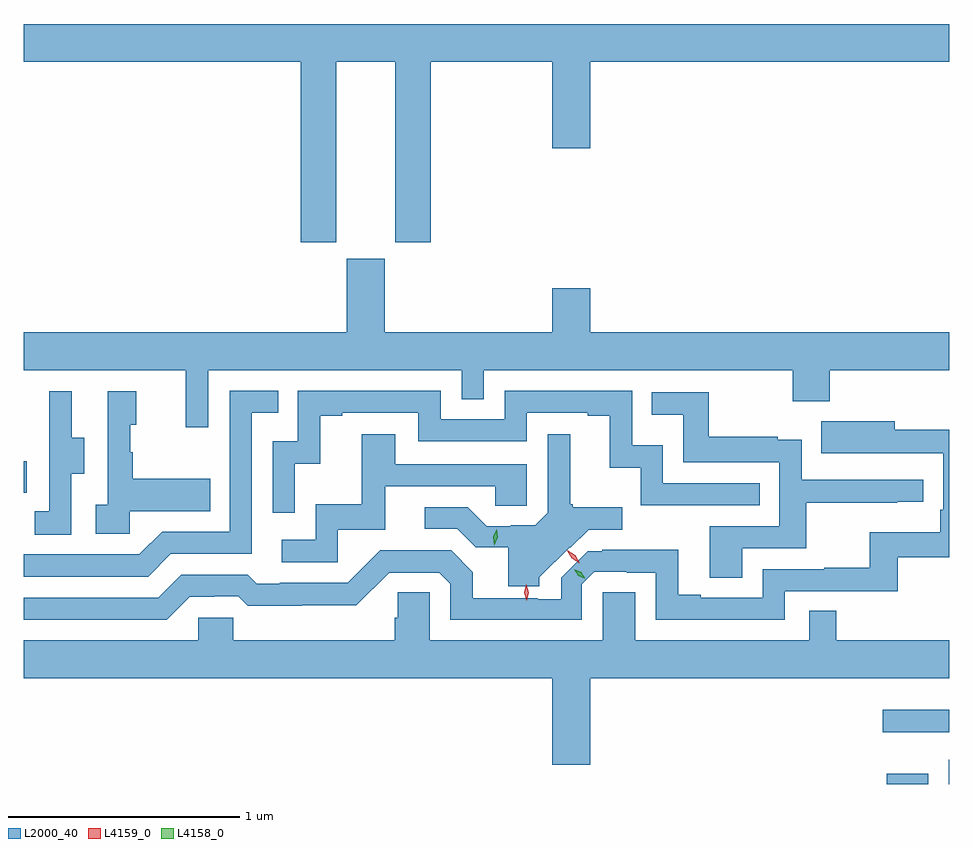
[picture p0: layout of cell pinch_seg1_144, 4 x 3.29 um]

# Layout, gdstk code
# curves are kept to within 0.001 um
import gdstk
lib = gdstk.Library(unit=1e-6, precision=1e-09)
def R(c, l, rs):  # rectangles x0, y0, x1, y1
    for r in rs: c.add(gdstk.rectangle(r[:2], r[2:], *l))
def P(c, l, *ps):  # polygons
    for p in ps: c.add(gdstk.Polygon(p, *l))
L2000_40 = (2000, 40)
L4158_0 = (4158, 0)
L4159_0 = (4159, 0)

pinch_seg1_144 = lib.new_cell('pinch_seg1_144')
R(pinch_seg1_144, L2000_40, [(1089.53,553.939,1089.709,553.984), (1089.797,553.939,1089.8,554.044), (1089.513,554.163,1089.8,554.26), (1085.8,555.197,1085.813,555.334)])
P(pinch_seg1_144, L2000_40, [(1087.15,557.06),(1087.406,557.06),(1087.406,556.281),(1087.559,556.281),(1087.559,557.06),(1088.084,557.06),(1088.084,556.686),(1088.248,556.686),(1088.248,557.06),(1089.8,557.06),(1089.8,557.224),(1085.8,557.224),(1085.8,557.06),(1086.998,557.06),(1086.998,556.281),(1087.15,556.281)],
  [(1086.597,555.728),(1087.692,555.728),(1087.692,555.601),(1087.788,555.601),(1087.788,555.728),(1089.124,555.728),(1089.124,555.593),(1089.284,555.593),(1089.284,555.728),(1089.8,555.728),(1089.8,555.892),(1088.248,555.892),(1088.248,556.081),(1088.084,556.081),(1088.084,555.892),(1087.36,555.892),(1087.36,556.209),(1087.196,556.209),(1087.196,555.892),(1085.8,555.892),(1085.8,555.728),(1086.5,555.728),(1086.5,555.48),(1086.597,555.48)],
  [(1086.972,555.323),(1087.082,555.323),(1087.082,555.531),(1087.177,555.531),(1087.177,555.543),(1087.506,555.543),(1087.506,555.42),(1087.974,555.42),(1087.974,555.543),(1088.237,555.543),(1088.237,555.531),(1088.333,555.531),(1088.333,555.305),(1088.466,555.305),(1088.466,555.144),(1088.981,555.144),(1088.981,555.24),(1088.562,555.24),(1088.562,555.403),(1088.43,555.403),(1088.43,555.639),(1087.878,555.639),(1087.878,555.516),(1087.602,555.516),(1087.602,555.639),(1086.984,555.639),(1086.984,555.42),(1086.876,555.42),(1086.876,555.111),(1086.972,555.111)],
  [(1086.436,554.934),(1086.786,554.934),(1086.786,555.543),(1086.899,555.543),(1086.899,555.639),(1086.69,555.639),(1086.69,555.03),(1086.399,555.03),(1086.3,554.931),(1085.8,554.931),(1085.8,554.835),(1086.337,554.835)],
  [(1086.258,555.119),(1086.605,555.119),(1086.605,555.259),(1086.271,555.259),(1086.271,555.374),(1086.261,555.374),(1086.261,555.492),(1086.286,555.492),(1086.286,555.637),(1086.162,555.637),(1086.162,555.146),(1086.111,555.146),(1086.111,555.021),(1086.258,555.021)],
  [(1086.006,555.28),(1086.061,555.28),(1086.061,555.435),(1086.007,555.435),(1086.007,555.637),(1085.909,555.637),(1085.909,555.423),(1085.91,555.423),(1085.91,555.119),(1085.847,555.119),(1085.847,555.016),(1086.006,555.016)],
  [(1088.905,554.958),(1089.182,554.958),(1089.182,555.154),(1089.575,555.154),(1089.575,555.159),(1089.688,555.159),(1089.688,555.255),(1089.162,555.255),(1089.162,555.427),(1089.059,555.427),(1089.059,555.439),(1088.761,555.439),(1088.761,555.633),(1088.515,555.633),(1088.515,555.536),(1088.65,555.536),(1088.65,555.33),(1089.066,555.33),(1089.066,555.054),(1088.765,555.054),(1088.765,554.83),(1088.905,554.83)],
  [(1086.517,554.748),(1086.624,554.748),(1086.624,554.751),(1086.727,554.751),(1086.769,554.709),(1087.002,554.709),(1087.002,554.711),(1087.238,554.711),(1087.38,554.853),(1087.596,554.853),(1087.644,554.805),(1087.644,554.649),(1088.211,554.649),(1088.211,554.802),(1088.266,554.857),(1088.407,554.857),(1088.407,554.853),(1088.532,554.853),(1088.532,554.649),(1089.09,554.649),(1089.09,554.772),(1089.577,554.772),(1089.577,554.919),(1089.8,554.919),(1089.8,555.47),(1089.565,555.47),(1089.565,555.508),(1089.247,555.508),(1089.247,555.368),(1089.774,555.369),(1089.774,555.124),(1089.761,555.124),(1089.761,555.028),(1089.456,555.028),(1089.456,554.873),(1089.259,554.873),(1089.259,554.868),(1088.994,554.868),(1088.994,554.745),(1088.725,554.745),(1088.725,554.758),(1088.629,554.758),(1088.629,554.951),(1088.301,554.951),(1088.301,554.944),(1088.238,554.944),(1088.124,554.83),(1088.124,554.738),(1088.021,554.738),(1088.021,554.742),(1087.741,554.742),(1087.741,554.855),(1087.647,554.949),(1087.341,554.949),(1087.2,554.808),(1086.907,554.808),(1086.907,554.805),(1086.808,554.805),(1086.769,554.844),(1086.48,554.844),(1086.381,554.745),(1085.8,554.745),(1085.8,554.649),(1086.418,554.649)],
  [(1088.029,554.832),(1088.159,554.962),(1088.162,554.96),(1088.241,555.039),(1088.386,555.039),(1088.386,555.136),(1088.173,555.136),(1088.173,555.148),(1088.161,555.148),(1088.161,555.451),(1088.064,555.451),(1088.064,555.111),(1088.01,555.057),(1087.905,555.057),(1087.905,555.054),(1087.801,555.054),(1087.72,555.135),(1087.533,555.135),(1087.533,555.042),(1087.674,555.042),(1087.754,554.962),(1087.893,554.962),(1087.893,554.794),(1088.029,554.794)],
  [(1087.158,555.039),(1087.363,555.039),(1087.363,555.225),(1087.837,555.225),(1087.837,555.142),(1087.974,555.142),(1087.974,555.321),(1087.405,555.321),(1087.405,555.451),(1087.261,555.451),(1087.261,555.148),(1087.062,555.148),(1087.062,554.994),(1086.915,554.994),(1086.915,554.898),(1087.158,554.898)],
  [(1088.248,554.396),(1089.8,554.396),(1089.8,554.56),(1089.311,554.56),(1089.311,554.687),(1089.195,554.687),(1089.195,554.56),(1088.443,554.56),(1088.443,554.768),(1088.303,554.768),(1088.303,554.56),(1087.554,554.56),(1087.554,554.768),(1087.417,554.768),(1087.417,554.658),(1087.403,554.658),(1087.403,554.56),(1086.705,554.56),(1086.705,554.658),(1086.555,554.658),(1086.555,554.56),(1085.8,554.56),(1085.8,554.396),(1088.084,554.396),(1088.084,554.022),(1088.248,554.022)])
P(pinch_seg1_144, L4158_0, [(1087.834,554.972),(1087.834,554.972),(1087.829,555.008),(1087.844,555.041),(1087.844,555.041),(1087.845,555.041),(1087.849,555.005),(1087.834,554.972)],
  [(1088.227,554.827),(1088.196,554.84),(1088.179,554.868),(1088.179,554.868),(1088.179,554.868),(1088.21,554.855),(1088.227,554.827),(1088.227,554.827)])
P(pinch_seg1_144, L4159_0, [(1088.203,554.894),(1088.169,554.914),(1088.15,554.948),(1088.15,554.949),(1088.15,554.949),(1088.184,554.928),(1088.204,554.894),(1088.204,554.894)],
  [(1087.974,554.73),(1087.974,554.73),(1087.963,554.766),(1087.972,554.802),(1087.972,554.802),(1087.972,554.802),(1087.983,554.766),(1087.974,554.73)])

lib.write_gds('pinch_seg1_144.gds')
